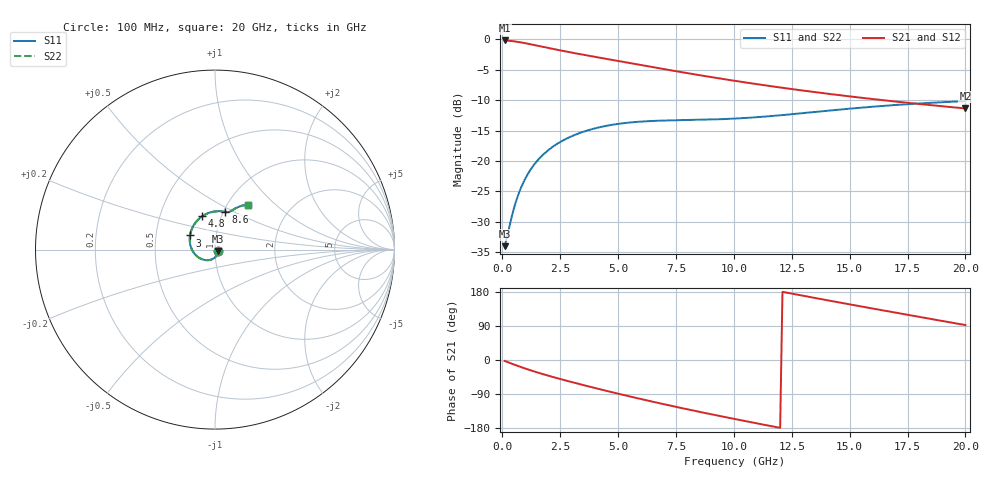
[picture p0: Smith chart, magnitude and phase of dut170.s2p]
! Touchstone file exported from HFSS 2023.1.0
!  File:  D:/Users/fzz/RDL_TSV/temp_RDL_TSV_170_1778754083.aedt
!  Generated:  6:29:34 %x4E0B%x5348  5%x6708 14, 2026
!  Design:  RDL_TSV
!  Project:  temp_RDL_TSV_170_1778754083
!  Setup:  Setup1
!  Solution:  Sweep
! Variables:
!  dtsv = 16.47um
!  hbump = 3um
!  htsv = 93.57um
!  ldown = 316.87um
!  lrdl = 617.32um
!  p = 40
!  p1 = 41.49um
!  rhole = 10um
!  subl = 3419.89um
!  t = 450um
!  tdown = 3.86um
!  trdl = 2.87um
!  viad = 10um
!  wdown = 23.8um
!  wrdl = 20.53um
!  xbump = 18um
# GHz S MA R 50.000000
! Terminal data exported
! Port[1] = TM1_1_T1
! Port[2] = TM1_4_T1
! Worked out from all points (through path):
!   200 points, 100 MHz to 20 GHz, reference 50 ohm
!   highest |S21| = -0.17 dB at 100 MHz (marker M1); lowest = -11.3 dB at 20 GHz (marker M2)
!   group delay of S21, straight-line fit = 35.5 ps
!   lowest |S11| = -34.0 dB at 100 MHz (marker M3), VSWR 1.04, Z = 51.8 - j0.844 ohm
!   |S11| at or under -10 dB: start of sweep to end of sweep
!   |S22| runs from -34.0 to -10.1 dB; largest |S21 - S12| = 1.1e-14
!   S11 on the Smith chart (normalised r, x): 100 MHz: 1.04, -0.02; 3 GHz: 0.75, +0.12; 4.8 GHz: 0.81, +0.32; 8.6 GHz: 1.02, +0.45; 20 GHz: 1.25, +0.69
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0.1  0.01996 -24.1  0.9804 -2.4  0.9804 -2.4  0.01996 -24.1
! Gamma 0 0 0 0
! Port Impedance 50 0 50 0
0.4  0.03445 -74.4  0.9697 -9.5  0.9697 -9.5  0.03446 -74.4
0.6  0.04709 -95.1  0.9587 -14.1  0.9587 -14.1  0.0471 -95.1
0.8  0.05986 -111.3  0.9454 -18.5  0.9454 -18.5  0.05986 -111.3
1.1  0.07811 -131.2  0.9225 -24.7  0.9225 -24.7  0.07807 -131.1
1.5  0.1 -153.0  0.8897 -32.6  0.8897 -32.6  0.09992 -152.8
1.9  0.1192 -171.2  0.8574 -39.9  0.8574 -39.9  0.1189 -171.0
2.4  0.1397 169.6  0.8197 -48.5  0.8197 -48.5  0.1393 169.8
3  0.1601 150.6  0.7791 -58.3  0.7791 -58.3  0.1595 150.8
3.5  0.1741 137.3  0.7481 -66.2  0.7481 -66.2  0.1733 137.6
4.8  0.1994 110.9  0.6754 -85.9  0.6754 -85.9  0.1982 111.2
5.8  0.2098 96.5  0.6247 -100.4  0.6247 -100.4  0.2084 96.8
6.8  0.2147 86.0  0.5781 -114.2  0.5781 -114.2  0.2132 86.4
7.7  0.2168 79.3  0.5399 -126.3  0.5399 -126.3  0.2153 79.7
8.6  0.2184 74.5  0.5051 -137.9  0.5051 -137.9  0.2171 75.0
10.1  0.2237 69.8  0.4547 -156.5  0.4547 -156.5  0.2227 70.3
11.6  0.2342 67.0  0.4126 -174.4  0.4126 -174.4  0.2335 67.5
13.4  0.2521 64.2  0.3708 164.9  0.3708 164.9  0.2518 64.6
15  0.2695 61.4  0.34 146.8  0.34 146.8  0.2694 61.8
16.7  0.2864 58.4  0.3126 128.1  0.3126 128.1  0.2866 58.7
18.3  0.2996 55.7  0.2907 110.6  0.2907 110.6  0.2998 55.9
20  0.3109 53.3  0.2708 92.2  0.2708 92.2  0.3111 53.5
